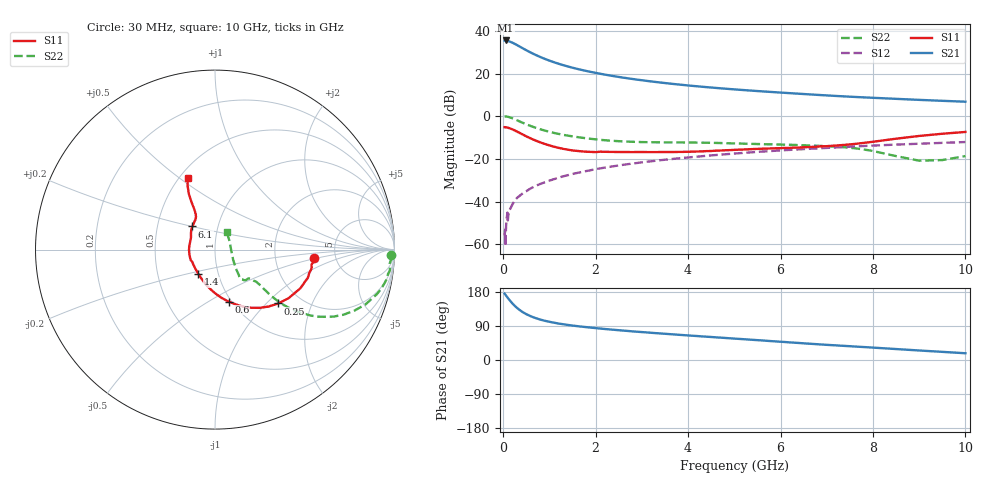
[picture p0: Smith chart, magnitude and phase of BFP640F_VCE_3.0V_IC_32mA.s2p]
! Infineon Technologies  Discrete & RF Semiconductors
! BFP640F
! VCE =  3.0 V,  IC =  32 mA
! Common Emitter S-Parameters:  Apr 2013
# GHz  S  MA  R  50
!  f  S11  S21  S12  S22
! GHz  MAG  ANG  MAG  ANG  MAG  ANG  MAG  ANG
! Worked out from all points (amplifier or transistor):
!   99 points, 30 MHz to 10 GHz, reference 50 ohm
!   highest |S21| = 35.5 dB at 50 MHz (marker M1)
!   |S21| within 3 dB of that: start of sweep to 367.2 MHz
!   unconditionally stable (mu >= 1): 1.779 GHz to end of sweep
!   at 350 MHz: K = 0.49, MSG = 35.0 dB, |S12| = -37.4 dB
!   at 3.5 GHz: K = 1.06, MAG = 16.5 dB, |S12| = -20.4 dB
!   at 10 GHz: K = 1.04, MAG = 8.2 dB, |S12| = -12.1 dB
!   S11 on the Smith chart (normalised r, x): 30 MHz: 3.41, -0.48; 250 MHz: 1.54, -1.18; 600 MHz: 0.97, -0.62; 1.4 GHz: 0.80, -0.22; 6.1 GHz: 0.75, +0.20; 10 GHz: 0.55, +0.54
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0.03  0.5542 -5.0  59.33 175.2  0.0016 99.3  0.9802 -1.9
0.05  0.5434 -8.9  59.54 171.9  0.0009 -28.0  0.9762 -4.6
0.11  0.5327 -19.3  57.56 162.1  0.0047 86.4  0.9618 -11.4
0.15  0.5163 -25.8  55.59 156.1  0.0067 81.5  0.9343 -15.5
0.2  0.4914 -33.4  52.68 149.1  0.0086 79.3  0.8925 -20.0
0.25  0.463 -40.4  49.52 142.9  0.0106 76.0  0.8471 -23.7
0.3  0.4353 -46.8  46.33 137.3  0.0122 76.0  0.8021 -26.9
0.4  0.3824 -57.9  40.3 128.1  0.0149 74.6  0.7166 -31.5
0.5  0.3365 -67.2  35.11 120.9  0.0175 73.6  0.6459 -34.6
0.6  0.2999 -75.4  30.83 115.2  0.0205 73.5  0.586 -36.7
0.7  0.2692 -82.8  27.32 110.6  0.0232 72.9  0.5368 -38.0
0.9  0.2233 -96.1  22.05 103.5  0.0283 72.8  0.4604 -39.3
1.1  0.1927 -108.1  18.36 98.4  0.0335 72.4  0.405 -39.5
1.4  0.1643 -124.7  14.61 92.5  0.0415 71.5  0.3504 -38.9
1.7  0.1498 -139.6  12.12 88.0  0.0494 70.6  0.313 -38.1
2.4  0.1453 -165.9  8.655 79.7  0.0675 67.6  0.2637 -39.0
3.4  0.1446 168.7  6.152 70.1  0.0931 62.8  0.2438 -42.3
5.1  0.1642 144.5  4.172 55.7  0.1356 54.1  0.2289 -47.3
6.1  0.181 134.6  3.524 47.4  0.1602 48.5  0.2148 -48.4
6.7  0.1913 127.2  3.209 42.4  0.1738 45.1  0.2045 -48.3
8.5  0.2969 116.3  2.55 28.9  0.216 34.7  0.116 -29.3
10  0.4275 110.9  2.185 17.8  0.2481 25.9  0.1163 55.9
